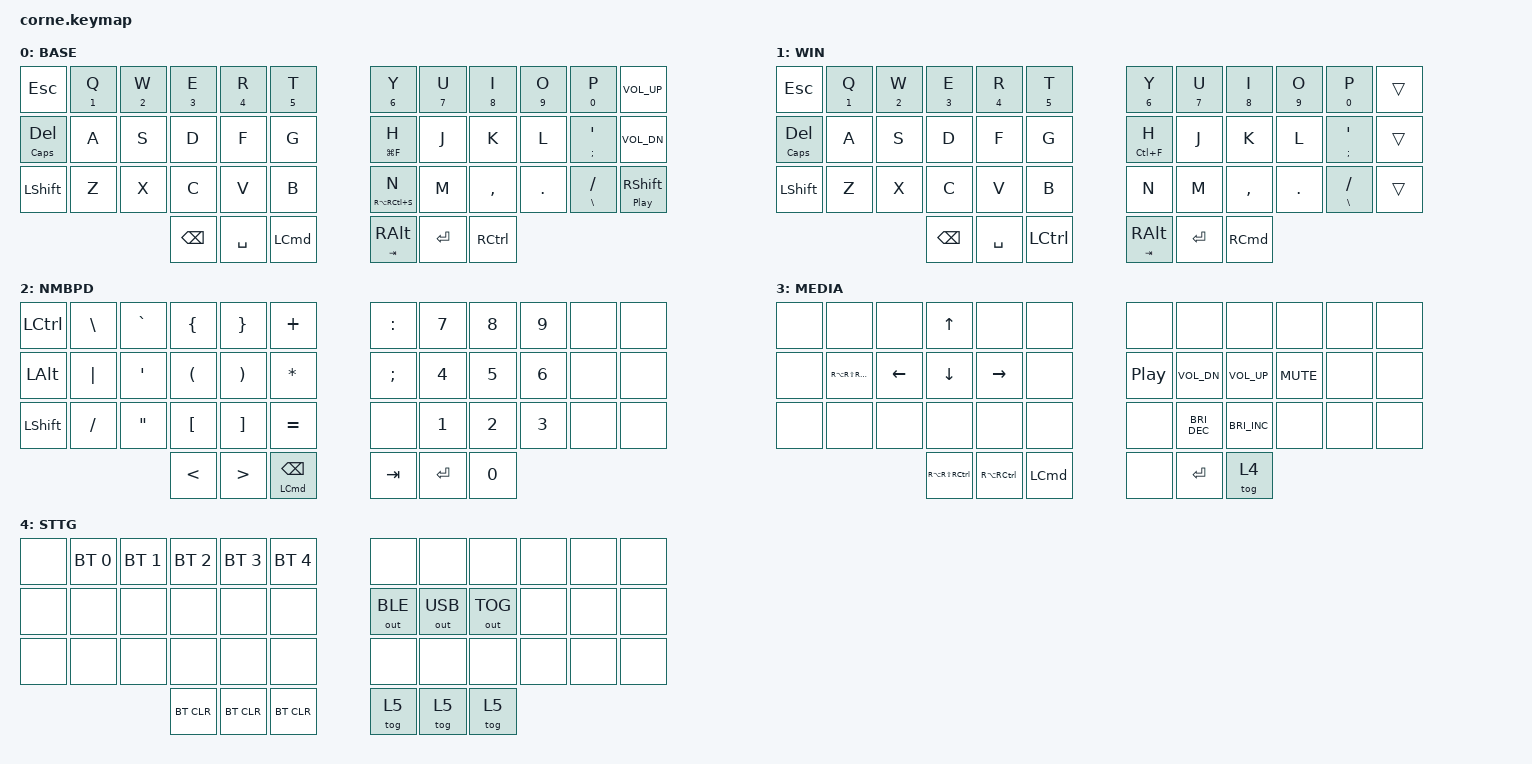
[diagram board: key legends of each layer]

#include <behaviors.dtsi>
#include <dt-bindings/zmk/keys.h>
#include <dt-bindings/zmk/bt.h>
#include <dt-bindings/zmk/outputs.h>


// Layers
#define BASE 0
#define WIN 1
#define NMBPD 2
#define NMSYM 3
#define MEDIA 4
#define STTG 5

/ {
    chosen {
        zmk,matrix_transform = &default_transform;
        //zmk,matrix_transform = &five_column_transform;
    };
};

// Combination Behaviors
// _____________________________________   _____________________________________
// |  0  |  1  |  2  |  3  |  4  |  5  |   |  6  |  7  |  8  |  9  |  10 |  11 |
// |  12 |  13 |  14 |  15 |  16 |  17 |   |  18 |  19 |  20 |  21 |  22 |  23 |
// |  24 |  25 |  26 |  27 |  28 |  29 |   |  30 |  31 |  32 |  33 |  34 |  35 |
//                   |  36 |  37 |  38 |   |  39 |  40 |  41 |

/ {
    combos {
        compatible = "zmk,combos";



//MISC Combinations

        combo_STTG {
            timeout-ms = <75>;
            key-positions = <0 1 12 13 24 25>;
            bindings = <&tog 4>;
                       };

       combo_SECTSYMBOL {
            timeout-ms = <40>;
            key-positions = <10 11>;
            layers = <0 1>;
            bindings = <&kp RA(NUMBER_6)>;
                       }; 



//LEFT MAC Combinations

        combo_WIN {
            timeout-ms = <75>;
            key-positions = <2 3 4 5>;
            layers = <0 1>;
            bindings = <&tog 1>;
                       };
            
        combo_SYNMBPDleft {
            timeout-ms = <50>;
            key-positions = <15 16>;
            layers = <0 1>;
            bindings = <&mo 2>;
                     };

        combo_SCRNSHTmac {
            timeout-ms = <50>;
            key-positions = <4 5>;
            layers = <0>;
            bindings = <&kp LG(LS(N4))>;
                     };

        combo_TXTSNPRmac {
            timeout-ms = <50>;
            key-positions = <16 17>;
            layers = <0>;
            bindings = <&kp LG(LS(N2))>;
                     };

        combo_COPYPASTEmac {
            timeout-ms = <50>;
            key-positions = <28 29>;
            layers = <0>;
            bindings = <&mt LG(V) LG(C)>;
                     };



//LEFT WIN Combinations

        combo_TSKMNGRwin {
            timeout-ms = <50>;
            key-positions = <4 5>;
            layers = <1>;
            bindings = <&kp LC(LA(DEL))>;
                     };

        combo_SPRKEYwin {
            timeout-ms = <50>;
            key-positions = <16 17>;
            layers = <1>;
            bindings = <&kp LA(LS(LCTRL))>;
                     };

        combo_COPYPASTEwin {
            timeout-ms = <50>;
            key-positions = <28 29>;
            layers = <1>;
            bindings = <&mt LC(V) LC(C)>;
                     };



//RIGHT MAC Combinations

       combo_SYNMBPDleft {
            timeout-ms = <50>;
            key-positions = <19 20>;
            layers = <0 1>;
            bindings = <&mo 2>;
                     };

        combo_SPTLGTmac {
            timeout-ms = <50>;
            key-positions = <6 7>;
            layers = <0>;
            bindings = <&kp RG(RS(S))>;
                     };

        combo_FINDmac {
            timeout-ms = <50>;
            key-positions = <18 19>;
            layers = <0>;
            bindings = <&kp RG(F)>;
                     };

        combo_THINGSmac {
            timeout-ms = <50>;
            key-positions = <30 31>;
            layers = <0>;
            bindings = <&kp RC(SPACE)>;
                     };



//RIGHT WIN Combinations

        combo_SEARCHwin {
            timeout-ms = <50>;
            key-positions = <6 7>;
            layers = <1>;
            bindings = <&kp RG(RS(S))>;
                     };

        combo_WHSPRFLWwin {
            timeout-ms = <50>;
            key-positions = <18 19>;
            layers = <1>;
            bindings = <&kp RC(SQT)>;
                     };

        combo_TODOSwin {
            timeout-ms = <50>;
            key-positions = <30 31>;
            layers = <1>;
            bindings = <&kp RC(SPACE)>;
                     };
           };
    };




// Hold-tap behaviors
&mt {
    tapping-term-ms = <300>;
    flavor = "tap-preferred";
    quick-tap-ms = <200>;
};

//Keymap
/{
    keymap {
        compatible = "zmk,keymap";

base_layer {
            label = "BASE";

            // _____________________________________   _____________________________________
            // | ESC |Q (1)|W (2)|E (3)|R (4)|T (5)|   |Y (6)|U (7)|I (8)|O (9)|P (0)|volUP|
            // |DELcl|  A  |  S  |  D  |  F  |  G  |   |H (F)|  J  |  K  |  L  |' (;)|volDN|
            // |LSHFT|  Z  |  X  |  C  |  V  |  B  |   |N (S)|  M  |  ,  |  .  |/ (\)|sftPP|
            //                   | ESC | SPC | LCMD|   |RALT | ENT |RCTRL|
            //                                         ( TAB )(RCTRL)
            
            bindings = <
  &kp ESC           &mt N1 Q  &mt N2 W  &mt N3 E  &mt  N4 R  &mt N5 T        &mt N6 Y         &mt N7 U   &mt N8 I   &mt N9 O  &mt N0 P       &kp C_VOL_UP
  &mt CAPSLOCK DEL  &kp A     &kp S     &kp D     &kp F      &kp G           &mt LG(F) H      &kp J      &kp K      &kp L     &mt SEMI SQT   &kp C_VOL_DN
  &kp LSHFT         &kp Z     &kp X     &kp C     &kp V      &kp B           &mt RA(RC(S)) N  &kp M      &kp COMMA  &kp DOT   &mt BSLH FSLH  &mt C_PP RSHFT
                                        &kp BSPC  &kp SPACE  &kp LCMD        &mt TAB RALT     &kp ENTER  &kp RCTRL
            >;
        };

win_layer {
            label = "WIN";

            // _____________________________________   _____________________________________
            // | ESC |Q (1)|W (2)|E (3)|R (4)|T (5)|   |Y (6)|U (7)|I (8)|O (9)|P (0)|trans|
            // |DELcl|A DEL|  S  |  D  |  F  |  G  |   |H (F)|  J  |  K  |  L  |' (;)|trans|
            // |LSHFT|SFT Z|  X  |  C  |  V  |  B  |   |  N  |  M  |  ,  |  .  |/ (\)|trans|
            //                   |BSPCE| SPC |LCTRL|   |RALT | ENT | GUI |
            //                                         ( TAB )(RCTRL)
            
            bindings = <
  &kp ESC           &mt N1 Q  &mt N2 W  &mt N3 E  &mt  N4 R  &mt N5 T        &mt N6 Y      &mt N7 U   &mt N8 I   &mt N9 O  &mt N0 P       &trans
  &mt CAPSLOCK DEL  &kp A     &kp S     &kp D     &kp F      &kp G           &mt LC(F) H   &kp J      &kp K      &kp L     &mt SEMI SQT   &trans
  &kp LSHFT         &kp Z     &kp X     &kp C     &kp V      &kp B           &kp N         &kp M      &kp COMMA  &kp DOT   &mt BSLH FSLH  &trans
                                       &kp BSPC  &kp SPACE  &kp LCTRL        &mt TAB RALT  &kp ENTER  &kp RCMD
            >;
        };

symnumpad_layer {
            label = "NMBPD";

            // _____________________________________   _____________________________________
            // | LCTRL |  \  |  `  |  {  |  }  |  +  |   |  :  |  7  |  8  |  9  |     |     |
            // | LALT  |  |  |  '  |  (  |  )  |  *  |   |  ;  |  4  |  5  |  6  |     |     |
            // | LSHFT |  /  |  "  |  [  |  ]  |  =  |   |     |  1  |  2  |  3  |     |     |
            //                     |  <  |  >  |BPSC |   | TAB | ENT |  0  |
            //                                 (LCMD)

            bindings = <
&kp LCTRL    &kp BSLH  &kp GRAVE  &kp LBRC   &kp RBRC  &kp PLUS            &kp COLON  &kp N7  &kp N8  &kp N9  &none       &none
&kp LALT     &kp PIPE  &kp SQT    &kp LPAR   &kp RPAR  &kp STAR            &kp SEMI   &kp N4  &kp N5  &kp N6  &none       &none
&kp LSHIFT   &kp FSLH  &kp DQT    &kp LBKT   &kp RBKT  &kp EQUAL           &none      &kp N1  &kp N2  &kp N3  &none       &none
                                   &kp LT  &kp GT  &mt LCMD BSPC           &kp TAB  &kp ENTER  &kp N0
            >;
        };

        media_layer {
            label = "MEDIA";

            // _____________________________________   _____________________________________
            // |     |     |     |  UP |     |     |   |     |     |     |     |     |     |
            // |     | MEGA| LEFT| DOWN|RIGHT|     |   |     | p_p |VOLDN|VOLUP|VMUTE|     |
            // |     |     |     |     |     |     |   |     |briDN|briUP|     |     |     |
            //                   |SUPER| MEH | CMD |   |     | ENT | MED |

            bindings = <
&none      &none                 &none     &kp UP    &none      &none           &none     &none                 &none                 &none       &none       &none
&none      &kp RA(RS(RA(RCMD)))  &kp LEFT  &kp DOWN  &kp RIGHT  &none           &kp C_PP  &kp C_VOL_DN          &kp C_VOL_UP          &kp C_MUTE  &none       &none
&none      &none                 &none     &none     &none      &none           &none     &kp C_BRIGHTNESS_DEC  &kp C_BRIGHTNESS_INC  &none       &none       &none
                           &kp RA(RS(RCTRL))  &kp RA(RCTRL)  &kp LCMD           &none     &kp ENTER  &tog 4
            >;
        };

        sttg_layer {
            label = "STTG";
            
            // _____________________________________   _____________________________________
            // |     | BT1 | BT2 | BT3 | BT4 | BT5 |   |     |     |     |     |     |     |
            // |     |     |     |     |     |     |   | BLE | USB |SWTCH|     |     |     |
            // |     |     |     |     |     |     |   |     |     |     |     |     |     |
            //                   |BTCLR|BTCLR|BTCLR|   | SET | SET | SET |
            
            bindings = <
&none  &bt BT_SEL 0  &bt BT_SEL 1  &bt BT_SEL 2  &bt BT_SEL 3  &bt BT_SEL 4           &none  &none  &none  &none  &none  &none
&none  &none  &none  &none  &none  &none                                              &out OUT_BLE  &out OUT_USB  &out OUT_TOG  &none  &none  &none
&none  &none  &none  &none  &none  &none                                              &none  &none  &none  &none  &none  &none
                                     &bt BT_CLR    &bt BT_CLR    &bt BT_CLR           &tog 5  &tog 5  &tog 5                              
            >;
        };
    };
};
